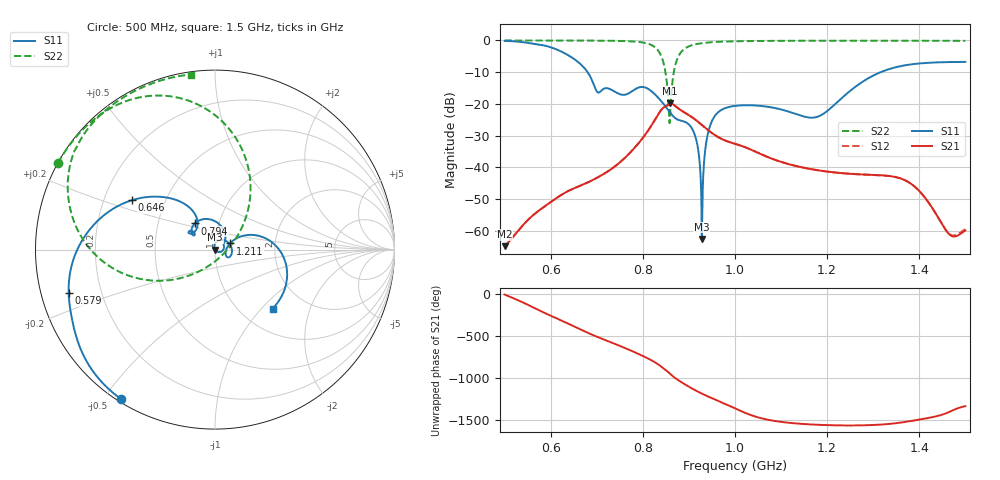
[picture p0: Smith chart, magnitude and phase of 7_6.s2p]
! TOUCHSTONE file generated by CST MICROWAVE STUDIO
! Date and time: Sat Oct 24 11:43:32 2020
! Project name: Scenario_1_Circular_Tissue_out_of_Line.cst
! Parameters = {dy1=-241.954; L_HA=400; MT=2.54; Rad_Dielectric=30; Rad_Lower=7.3; Rad_Upper=30; a_HA=580; a_WG=246; b_HA=500; b_WG=121; c_HA=0; c_WG=187; d_feed=85; dx1=1039; h_feed=15; h_lower=18; h_upper=40}
! Header version: 2018
! Port assignment regex: !\s*Touchstone port\s*([0-9]+)\s*=\s*(CST MWS port|CST DS port)\s*([0-9]+|Zmin|Zmax)\s*\(\"(.*)\"\)(\s*mode\s*([0-9]+))?.*
! Touchstone port assignment:
! Touchstone port 1 = CST MWS port 1 ("")
! Touchstone port 2 = CST MWS port 2 ("")
# GHz S DB R 50
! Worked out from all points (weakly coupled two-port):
!   1001 points, 500 MHz to 1.5 GHz, reference 50 ohm
!   highest |S21| = -19.66 dB at 859 MHz (marker M1); lowest = -64.8 dB at 500 MHz (marker M2)
!   lowest |S11| = -62.6 dB at 928 MHz (marker M3), VSWR 1.00, Z = 50 - j0.0731 ohm
!   |S11| at or under -10 dB: 680.1 MHz to 1.316 GHz (635.9 MHz wide, 63.7 % of centre)
!   |S22| runs from -26.0 to 0.0 dB; largest |S21 - S12| = 0.0008
!   S11 on the Smith chart (normalised r, x): 500 MHz: 0.01, -0.55; 579 MHz: 0.08, -0.15; 646 MHz: 0.32, +0.25; 794 MHz: 0.77, +0.23; 1.211 GHz: 1.18, +0.08; 1.5 GHz: 1.39, -1.16
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0.5  -0.14 -122.3  -64.78 -7.5  -64.78 -7.5  -0.01 151.1
0.579  -1.40 -163.4  -53.09 154.6  -53.09 154.6  -0.02 145.7
0.646  -5.37 149.3  -46.87 -13.6  -46.87 -13.7  -0.03 140.3
0.667  -7.77 134.3  -45.59 -68.7  -45.59 -68.7  -0.04 138.3
0.703  -16.41 136.4  -43.05 -153.5  -43.05 -153.5  -0.07 134.5
0.794  -14.71 127.7  -31.78 -0.9  -31.78 -0.9  -0.52 115.3
0.834  -18.14 68.9  -23.13 -118.9  -23.13 -118.9  -3.35 83.6
0.848  -20.57 51.7  -20.87 -178.5  -20.89 -178.8  -9.10 56.1
0.859  -22.67 41.3  -19.66 132.7  -19.66 132.7  -24.10 -86.0
0.875  -24.89 32.5  -21.20 63.2  -21.21 63.3  -5.74 -164.4
0.909  -28.39 -15.7  -24.40 -49.2  -24.41 -49.3  -1.40 162.7
0.918  -32.64 -35.8  -25.41 -75.7  -25.41 -75.8  -1.10 158.6
0.928  -62.55 -101.3  -26.62 -103.1  -26.62 -103.1  -0.87 155.0
0.939  -30.89 94.6  -27.95 -130.9  -27.95 -131.0  -0.68 151.7
0.949  -25.69 70.8  -29.07 -154.8  -29.07 -154.8  -0.56 149.2
1  -20.61 3.7  -32.54 82.3  -32.54 82.3  -0.27 140.2
1.167  -24.33 -9.6  -40.58 -109.6  -40.57 -109.5  -0.10 124.1
1.211  -20.88 22.4  -41.49 -118.4  -41.48 -118.4  -0.09 120.7
1.334  -9.05 0.9  -42.67 -103.1  -42.69 -103.2  -0.09 111.4
1.395  -7.33 -21.1  -46.70 -55.8  -46.70 -55.6  -0.09 106.7
1.466  -6.81 -39.3  -61.17 42.2  -61.02 46.2  -0.12 100.8
1.5  -6.76 -45.6  -59.79 108.0  -59.33 109.6  -0.13 97.8
